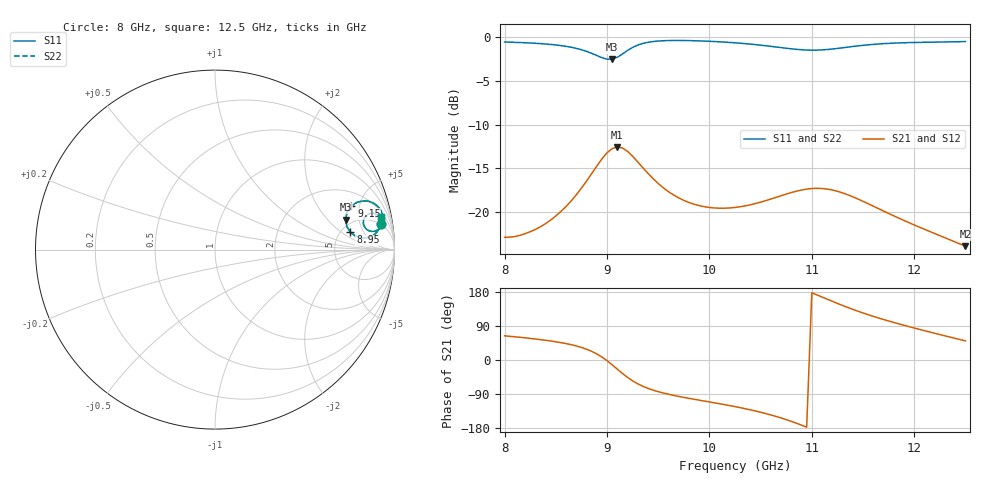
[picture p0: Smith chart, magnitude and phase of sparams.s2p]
! NobuRF pozar-3.3-wr90-short: ports 1 "p1", 2 "p2"; 5700 + 5700 steps
# GHz S RI R 50
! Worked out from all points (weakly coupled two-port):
!   91 points, 8 GHz to 12.5 GHz, reference 50 ohm
!   highest |S21| = -12.56 dB at 9.1 GHz (marker M1); lowest = -23.9 dB at 12.5 GHz (marker M2)
!   lowest |S11| = -2.5 dB at 9.05 GHz (marker M3), VSWR 6.88, Z = 217 + j163 ohm
!   |S11| at or under -10 dB: nowhere
!   |S22| runs from -2.5 to -0.4 dB; largest |S21 - S12| = 3.8e-09
!   S11 on the Smith chart (normalised r, x): 8 GHz: 5, +11; 8.95 GHz: 6.06, +2.78; 9.15 GHz: 3.11, +4.17; 12.5 GHz: 3.04, +9.35
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8  0.9235 0.1433  0.0317 0.0646  0.0317 0.0646  0.9235 0.1433
8.2  0.917 0.1227  0.0394 0.0644  0.0394 0.0644  0.917 0.1227
8.4  0.9046 0.1013  0.053 0.0679  0.053 0.0679  0.9046 0.1013
8.6  0.8792 0.0786  0.0785 0.0739  0.0785 0.0739  0.8792 0.0786
8.75  0.8421 0.0654  0.1149 0.0751  0.1149 0.0751  0.8421 0.0654
8.85  0.8029 0.068  0.1529 0.0644  0.1529 0.0644  0.8029 0.068
8.95  0.7548 0.0967  0.1995 0.0278  0.1995 0.0278  0.7548 0.0967
9.05  0.7272 0.1667  0.225 -0.0502  0.225 -0.0502  0.7272 0.1667
9.1  0.7358 0.2085  0.2152 -0.096  0.2152 -0.096  0.7358 0.2085
9.15  0.7599 0.2431  0.1896 -0.1346  0.1896 -0.1346  0.7599 0.2432
9.25  0.8268 0.2717  0.1196 -0.171  0.1196 -0.171  0.8268 0.2717
9.35  0.879 0.2606  0.0635 -0.1677  0.0635 -0.1677  0.879 0.2606
9.5  0.9189 0.226  0.0163 -0.1449  0.0163 -0.1449  0.919 0.226
9.65  0.9334 0.1948  -0.00728 -0.1253  -0.00728 -0.1253  0.9334 0.1948
9.85  0.9363 0.1624  -0.0261 -0.108  -0.0261 -0.108  0.9363 0.1624
10.05  0.93 0.1375  -0.0413 -0.0974  -0.0413 -0.0974  0.93 0.1376
10.25  0.917 0.1181  -0.058 -0.0893  -0.058 -0.0893  0.917 0.1181
10.65  0.8695 0.1019  -0.104 -0.0628  -0.104 -0.0628  0.8695 0.1019
11  0.8276 0.1412  -0.1363 0.00636  -0.1363 0.00636  0.8276 0.1413
11.35  0.8514 0.1959  -0.0946 0.083  -0.0946 0.083  0.8514 0.1959
11.75  0.8961 0.1981  -0.0221 0.0959  -0.0221 0.0959  0.8961 0.1981
12.5  0.9222 0.1803  0.0407 0.0495  0.0407 0.0495  0.9222 0.1803
